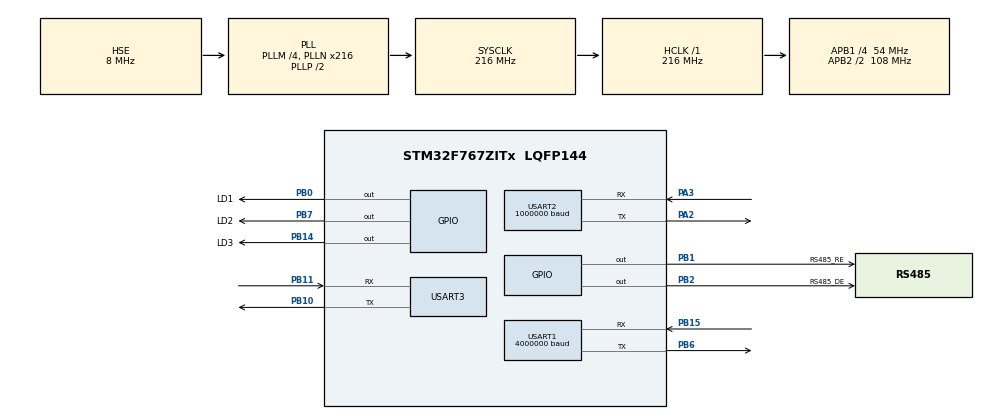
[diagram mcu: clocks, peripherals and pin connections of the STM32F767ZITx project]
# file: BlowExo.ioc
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CORTEX_M7.default_mode_Activation=1
Mcu.Family=STM32F7
Mcu.Name=STM32F767ZITx
Mcu.Package=LQFP144
NVIC.PriorityGroup=NVIC_PRIORITYGROUP_4
NVIC.TIM2_IRQn=true\:2\:0\:true\:true\:true\:1\:true\:true\:true
NVIC.USART1_IRQn=true\:1\:0\:true\:false\:true\:true\:true\:true
NVIC.USART2_IRQn=true\:1\:0\:true\:false\:true\:true\:true\:true
NVIC.USART3_IRQn=true\:1\:0\:true\:false\:true\:true\:true\:true
PA13.Mode=Serial_Wire
PA13.Signal=SYS_JTMS-SWDIO
PA14.Mode=Serial_Wire
PA14.Signal=SYS_JTCK-SWCLK
PA2.Mode=Asynchronous
PA2.Signal=USART2_TX
PA3.Mode=Asynchronous
PA3.Signal=USART2_RX
PB0.GPIO_Label=LD1
PB0.PinState=GPIO_PIN_SET
PB0.Signal=GPIO_Output
PB1.GPIO_Label=RS485_RE
PB1.PinState=GPIO_PIN_SET
PB1.Signal=GPIO_Output
PB10.Mode=Asynchronous
PB10.Signal=USART3_TX
PB11.Mode=Asynchronous
PB11.Signal=USART3_RX
PB14.GPIO_Label=LD3
PB14.Signal=GPIO_Output
PB15.Mode=Asynchronous
PB15.Signal=USART1_RX
PB2.GPIO_Label=RS485_DE
PB2.Signal=GPIO_Output
PB6.Mode=Asynchronous
PB6.Signal=USART1_TX
PB7.GPIO_Label=LD2
PB7.PinState=GPIO_PIN_RESET
PB7.Signal=GPIO_Output
PC14/OSC32_IN.Mode=LSE-External-Oscillator
PC14/OSC32_IN.Signal=RCC_OSC32_IN
PC15/OSC32_OUT.Mode=LSE-External-Oscillator
PC15/OSC32_OUT.Signal=RCC_OSC32_OUT
PH0/OSC_IN.Mode=HSE-External-Clock-Source
PH0/OSC_IN.Signal=RCC_OSC_IN
PH1/OSC_OUT.Mode=HSE-External-Clock-Source
PH1/OSC_OUT.Signal=RCC_OSC_OUT
ProjectManager.HeapSize=0x200
ProjectManager.StackSize=0x400
ProjectManager.TargetToolchain=MDK-ARM V5.32
RCC.AHBFreq_Value=216000000
RCC.APB1CLKDivider=RCC_HCLK_DIV4
RCC.APB1Freq_Value=54000000
RCC.APB1TimFreq_Value=108000000
RCC.APB2CLKDivider=RCC_HCLK_DIV2
RCC.APB2Freq_Value=108000000
RCC.APB2TimFreq_Value=216000000
RCC.CortexFreq_Value=216000000
RCC.HCLKFreq_Value=216000000
RCC.HSE_VALUE=8000000
RCC.HSI_VALUE=16000000
RCC.PLLM=4
RCC.PLLN=216
RCC.PLLSourceVirtual=RCC_PLLSOURCE_HSE
RCC.SYSCLKFreq_VALUE=216000000
RCC.SYSCLKSource=RCC_SYSCLKSOURCE_PLLCLK
RCC.USBFreq_Value=216000000
RCC.VCOOutputFreq_Value=432000000
TIM2.Period=9999
TIM2.Prescaler=53
USART1.BaudRate=4000000
USART1.VirtualMode-Asynchronous=VM_ASYNC
USART2.BaudRate=1000000
USART2.VirtualMode-Asynchronous=VM_ASYNC
USART3.VirtualMode-Asynchronous=VM_ASYNC
VP_TIM2_VS_ClockSourceINT.Mode=Internal
board=custom

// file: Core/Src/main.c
/* USER CODE BEGIN Header */
/**
  ******************************************************************************
  * @file           : main.c
  * @brief          : Main program body
  ******************************************************************************
  * @attention
  *
  * Copyright (c) 2024 STMicroelectronics.
  * All rights reserved.
  *
  * This software is licensed under terms that can be found in the LICENSE file
  * in the root directory of this software component.
  * If no LICENSE file comes with this software, it is provided AS-IS.
  *
  ******************************************************************************
  */
/* USER CODE END Header */
#include "main.h"
#include "tim.h"
#include "usart.h"
#include "gpio.h"

/* USER CODE BEGIN Includes */
#include "stdio.h"
/* USER CODE END Includes */

/* USER CODE BEGIN PV */
MOTOR_send cmd;             // 以全局变量声明电机控制结构体和电机数据结构体，方便在故障时通过debug查看变量值
MOTOR_recv data;

uint8_t servo_send_sta = 0;     // 伺服发送标志，接收到上位机指令后置1

int count = 0;
int usart1_sta = 0;

int motor_sta = 0;          // 电机状态，0：无数据，1：有数据
int rls_sta = 0;            // 编码器状态，0：无数据，1：有数据
int motor_error_count = 0;  // 电机错误次数，累计到10次报错
int motor_data_sta = 0;     // 电机参数解析状态，即motor_r->correct的全局变量，0：解析错误，1：解析成功
int rls_error_count = 0;    // 编码器错误次数，累积到10次报错
/* USER CODE END PV */

void SystemClock_Config(void);
static void MPU_Config(void);
static void MX_NVIC_Init(void);

int main(void)
{

  /* MPU Configuration--------------------------------------------------------*/
  MPU_Config();

  /* MCU Configuration--------------------------------------------------------*/

  /* Reset of all peripherals, Initializes the Flash interface and the Systick. */
  HAL_Init();

  /* Configure the system clock */
  SystemClock_Config();

  /* Initialize all configured peripherals */
  MX_GPIO_Init();
  MX_USART1_UART_Init();
  MX_USART2_UART_Init();
  MX_USART3_UART_Init();
  MX_TIM2_Init();

  /* Initialize interrupts */
  MX_NVIC_Init();
  /* USER CODE BEGIN 2 */
  /* 电机的当前参数 */
  float motor_position_rad = 0.0;   // 电机位置（rad）
  float motor_speed_rad = 0.0;      // 电机速度（rad/s）
  /* 关节的当前参数 */
  float blow_position_rad = 0.0;    // 肘关节位置（rad）
  float blow_speed_rad = 0.0;       // 肘关节速度（rad/s）

  Servo_Init(&cmd, &data);

  float pos = 0;
  float delta = -0.005;

//  cmd.id=0;           //给电机控制指令结构体赋值
//  cmd.mode=1;
//  cmd.T=0;
//  cmd.W=10;
//  cmd.Pos=0;
//  cmd.K_P=0;
//  cmd.K_W=0.05;

  HAL_TIM_Base_Start_IT(&htim2);    // 开启定时器中断

  count = 1;

  /* USER CODE END 2 */

  /* Infinite loop */
  /* USER CODE BEGIN WHILE */
  while (1)
  {

    if(motor_error_count > 10)
    {
      printf("motor error \n");
      Error_Handler();
    }
    if(servo_send_sta == 1)
    {
      servo_send_buf[0] = 0xFF;
      servo_send_buf[1] = 0xFE;
      /* 电机模式信息1Byte */
      uint8_t smode = servo_mode << 4;
      smode |= servo_error;
      servo_send_buf[2] = smode;
//      printf("mode %d \n", servo_mode);
//      printf("error %d \n", servo_error);
      /* 反馈参数 */
      uint8_t data_h, data_l;
      // 位置
      data_h = (actual_position & 0xFF00) >> 8;
      data_l = (actual_position & 0xFF);
      servo_send_buf[3] = data_h;
      servo_send_buf[4] = data_l;
      // 速度
      data_h = (actual_velocity & 0xFF00) >> 8;
      data_l = (actual_velocity & 0xFF);
      servo_send_buf[5] = data_h;
      servo_send_buf[6] = data_l;
      // 力矩
      data_h = (actual_torque & 0xFF00) >> 8;
      data_l = (actual_torque & 0xFF);
      servo_send_buf[7] = data_h;
      servo_send_buf[8] = data_l;

      /* CRC校验 */
      uint16_t crc = crc_ccitt(0, (uint8_t *)servo_send_buf, SERVO_SEND_LEN-2);
      data_h = (crc & 0xFF00) >> 8;
      data_l = (crc & 0xFF);
      servo_send_buf[9] = data_h;
      servo_send_buf[10] = data_l;
      HAL_UART_Transmit_IT(&huart2, (uint8_t *)servo_send_buf, sizeof(servo_send_buf));

//      HAL_UART_Transmit(&huart2, (uint8_t *)servo_recv_buf, sizeof(servo_recv_buf), 10);
      servo_send_sta = 0;
    }

    if(rls_sta == 1 && motor_sta == 1 && count == 1)
    {
      printf("target \n");
      target_position = actual_position + 100000;
      count = 0;
    }

    /* USER CODE END WHILE */

  }
}

void SystemClock_Config(void)
{
  RCC_OscInitTypeDef RCC_OscInitStruct = {0};
  RCC_ClkInitTypeDef RCC_ClkInitStruct = {0};

  /** Configure LSE Drive Capability
  */
  HAL_PWR_EnableBkUpAccess();

  /** Configure the main internal regulator output voltage
  */
  __HAL_RCC_PWR_CLK_ENABLE();
  __HAL_PWR_VOLTAGESCALING_CONFIG(PWR_REGULATOR_VOLTAGE_SCALE1);

  /** Initializes the RCC Oscillators according to the specified parameters
  * in the RCC_OscInitTypeDef structure.
  */
  RCC_OscInitStruct.OscillatorType = RCC_OSCILLATORTYPE_HSE;
  RCC_OscInitStruct.HSEState = RCC_HSE_BYPASS;
  RCC_OscInitStruct.PLL.PLLState = RCC_PLL_ON;
  RCC_OscInitStruct.PLL.PLLSource = RCC_PLLSOURCE_HSE;
  RCC_OscInitStruct.PLL.PLLM = 4;
  RCC_OscInitStruct.PLL.PLLN = 216;
  RCC_OscInitStruct.PLL.PLLP = RCC_PLLP_DIV2;
  RCC_OscInitStruct.PLL.PLLQ = 2;
  RCC_OscInitStruct.PLL.PLLR = 2;
  if (HAL_RCC_OscConfig(&RCC_OscInitStruct) != HAL_OK)
  {
    Error_Handler();
  }

  /** Activate the Over-Drive mode
  */
  if (HAL_PWREx_EnableOverDrive() != HAL_OK)
  {
    Error_Handler();
  }

  /** Initializes the CPU, AHB and APB buses clocks
  */
  RCC_ClkInitStruct.ClockType = RCC_CLOCKTYPE_HCLK|RCC_CLOCKTYPE_SYSCLK
                              |RCC_CLOCKTYPE_PCLK1|RCC_CLOCKTYPE_PCLK2;
  RCC_ClkInitStruct.SYSCLKSource = RCC_SYSCLKSOURCE_PLLCLK;
  RCC_ClkInitStruct.AHBCLKDivider = RCC_SYSCLK_DIV1;
  RCC_ClkInitStruct.APB1CLKDivider = RCC_HCLK_DIV4;
  RCC_ClkInitStruct.APB2CLKDivider = RCC_HCLK_DIV2;

  if (HAL_RCC_ClockConfig(&RCC_ClkInitStruct, FLASH_LATENCY_7) != HAL_OK)
  {
    Error_Handler();
  }
}

/**
  * @brief NVIC Configuration.
  * @retval None
  */
static void MX_NVIC_Init(void)
{
  /* TIM2_IRQn interrupt configuration */
  HAL_NVIC_SetPriority(TIM2_IRQn, 2, 0);
  HAL_NVIC_EnableIRQ(TIM2_IRQn);
}

/* USER CODE BEGIN 4 */
/* 定时器中断回调函数 ----------------------------------------------------*/
void HAL_TIM_PeriodElapsedCallback(TIM_HandleTypeDef *htim)
{
  if(htim->Instance == TIM2)
  {
    printf("target %d actual %d \n", target_position, actual_position);
    // PID控制
//    target_position = actual_position + 10000;
    PID_Realize(target_position, actual_position, 10.0, &pid);
    printf("pidout %f \n", pid.output);

    // 控制电机
    Motor_Control(&cmd, 1, 0, pid.output);
    Motor_Send_Recv(&cmd, &data);

    // 获取编码器信息
    Encoder_Send_Recv(encoder_recv_buf);
  }
}

/* 串口接收中断回调函数 ------------------------------------------------------*/
void HAL_UART_RxCpltCallback(UART_HandleTypeDef *huart)
{
  if(huart->Instance==USART1)
  {
    // 电机串口通信数据处理
    if(sizeof(data.motor_recv_data) > 0)
    {
      // 解析电机状态参数
      uint8_t *rp = (uint8_t *)&data.motor_recv_data;
      if(rp[0] == 0xFD && rp[1] == 0xEE)
      {
        data.correct = 1;
        motor_data_sta = extract_data(&data);       // 均转化为弧度制单位
        if(motor_data_sta == 0)
        {
          motor_error_count++;
        }
        else
        {
          motor_error_count = 0;
          motor_sta = 1;
          printf("MotorPos %f \n", data.Pos);
          HAL_GPIO_TogglePin(LD3_GPIO_Port, LD3_Pin);
          if(data.Pos < 1 && data.Pos > -1)
          {
            cmd.id=0;           //给电机控制指令结构体赋值
            cmd.mode=1;
            cmd.T=0;
            cmd.W=0;
            cmd.Pos=0;
            cmd.K_P=0;
            cmd.K_W=0;
            printf("stop \n");
          }
        }
//        HAL_UART_Receive_IT(&huart1, (uint8_t *)&data, sizeof(data.motor_recv_data));
      }
    }
    else
    {
      motor_error_count++;
    }
    HAL_UART_Receive_IT(&huart1, (uint8_t *)&data, sizeof(data.motor_recv_data));
  }
  else if(huart->Instance==USART2)
  {
    /* 解析上位机通信指令 */
    if(sizeof(servo_recv_buf) > 0)
    {
      if(servo_recv_buf[0] == 0xFF)
      {
        if(servo_recv_buf[1] == 0xFE)
        {
          Extract_Servo_Recv(servo_recv_buf);
          servo_send_sta = 1;
        }
        else
        {
          // 不是当前设备地址
        }
      }
      else
      {
        // 通信有误
      }
    }
    else
    {
      // 通信有误
    }
    HAL_UART_Receive_IT(&huart2, (uint8_t *)servo_recv_buf, sizeof(servo_recv_buf));
  }
  else if(huart->Instance==USART3)
  {
    if(encoder_recv_buf[0] == 0xFF)
    {
//      printf("encoder data %s \n", encoder_recv_buf);
      Extract_Encoder_Data(encoder_recv_buf, &actual_position);       // blow_position存放编码器当前位置
      rls_sta = 1;
      printf("encoder %d \n", actual_position);
//      printf("encoder data %d \n", blow_position);
      HAL_GPIO_TogglePin(LD2_GPIO_Port, LD2_Pin);
    }
  }
}

/* USER CODE END 4 */

 /* MPU Configuration */

void MPU_Config(void)
{
  MPU_Region_InitTypeDef MPU_InitStruct = {0};

  /* Disables the MPU */
  HAL_MPU_Disable();

  /** Initializes and configures the Region and the memory to be protected
  */
  MPU_InitStruct.Enable = MPU_REGION_ENABLE;
  MPU_InitStruct.Number = MPU_REGION_NUMBER0;
  MPU_InitStruct.BaseAddress = 0x0;
  MPU_InitStruct.Size = MPU_REGION_SIZE_4GB;
  MPU_InitStruct.SubRegionDisable = 0x87;
  MPU_InitStruct.TypeExtField = MPU_TEX_LEVEL0;
  MPU_InitStruct.AccessPermission = MPU_REGION_NO_ACCESS;
  MPU_InitStruct.DisableExec = MPU_INSTRUCTION_ACCESS_DISABLE;
  MPU_InitStruct.IsShareable = MPU_ACCESS_SHAREABLE;
  MPU_InitStruct.IsCacheable = MPU_ACCESS_NOT_CACHEABLE;
  MPU_InitStruct.IsBufferable = MPU_ACCESS_NOT_BUFFERABLE;

  HAL_MPU_ConfigRegion(&MPU_InitStruct);
  /* Enables the MPU */
  HAL_MPU_Enable(MPU_PRIVILEGED_DEFAULT);

}

void Error_Handler(void)
{
  __disable_irq();
  while (1)
  {
  }
}
